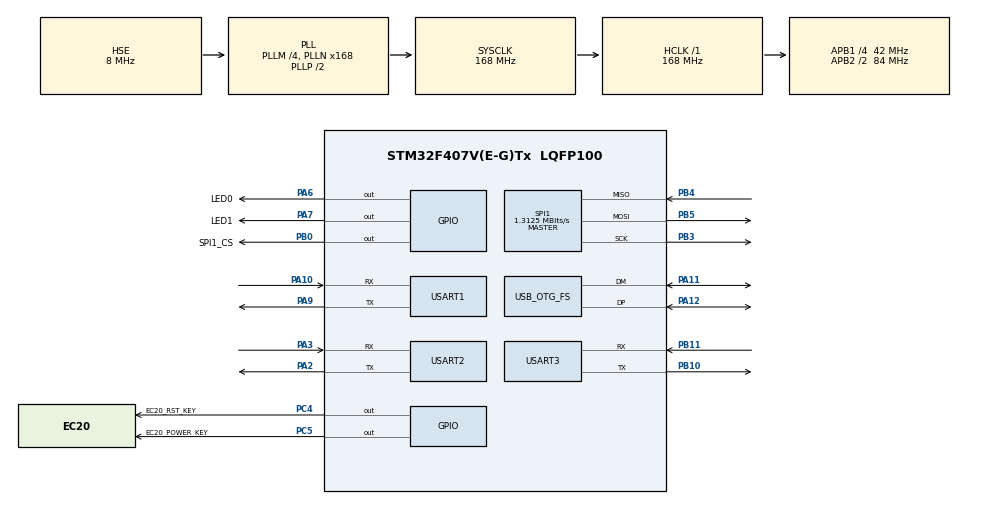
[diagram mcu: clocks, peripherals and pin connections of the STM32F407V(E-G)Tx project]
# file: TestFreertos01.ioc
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Dma.Request0=USART1_RX
Dma.Request1=USART1_TX
Dma.Request2=USART2_RX
Dma.Request3=USART2_TX
Dma.USART1_RX.0.Direction=DMA_PERIPH_TO_MEMORY
Dma.USART1_RX.0.FIFOMode=DMA_FIFOMODE_DISABLE
Dma.USART1_RX.0.Instance=DMA2_Stream2
Dma.USART1_RX.0.MemDataAlignment=DMA_MDATAALIGN_BYTE
Dma.USART1_RX.0.MemInc=DMA_MINC_ENABLE
Dma.USART1_RX.0.Mode=DMA_CIRCULAR
Dma.USART1_RX.0.PeriphDataAlignment=DMA_PDATAALIGN_BYTE
Dma.USART1_RX.0.PeriphInc=DMA_PINC_DISABLE
Dma.USART1_RX.0.Priority=DMA_PRIORITY_MEDIUM
Dma.USART1_TX.1.Direction=DMA_MEMORY_TO_PERIPH
Dma.USART1_TX.1.FIFOMode=DMA_FIFOMODE_DISABLE
Dma.USART1_TX.1.Instance=DMA2_Stream7
Dma.USART1_TX.1.MemDataAlignment=DMA_MDATAALIGN_BYTE
Dma.USART1_TX.1.MemInc=DMA_MINC_ENABLE
Dma.USART1_TX.1.Mode=DMA_NORMAL
Dma.USART1_TX.1.PeriphDataAlignment=DMA_PDATAALIGN_BYTE
Dma.USART1_TX.1.PeriphInc=DMA_PINC_DISABLE
Dma.USART1_TX.1.Priority=DMA_PRIORITY_MEDIUM
Dma.USART2_RX.2.Direction=DMA_PERIPH_TO_MEMORY
Dma.USART2_RX.2.FIFOMode=DMA_FIFOMODE_DISABLE
Dma.USART2_RX.2.Instance=DMA1_Stream5
Dma.USART2_RX.2.MemDataAlignment=DMA_MDATAALIGN_BYTE
Dma.USART2_RX.2.MemInc=DMA_MINC_ENABLE
Dma.USART2_RX.2.Mode=DMA_CIRCULAR
Dma.USART2_RX.2.PeriphDataAlignment=DMA_PDATAALIGN_BYTE
Dma.USART2_RX.2.PeriphInc=DMA_PINC_DISABLE
Dma.USART2_RX.2.Priority=DMA_PRIORITY_LOW
Dma.USART2_TX.3.Direction=DMA_MEMORY_TO_PERIPH
Dma.USART2_TX.3.FIFOMode=DMA_FIFOMODE_DISABLE
Dma.USART2_TX.3.Instance=DMA1_Stream6
Dma.USART2_TX.3.MemDataAlignment=DMA_MDATAALIGN_BYTE
Dma.USART2_TX.3.MemInc=DMA_MINC_ENABLE
Dma.USART2_TX.3.Mode=DMA_NORMAL
Dma.USART2_TX.3.PeriphDataAlignment=DMA_PDATAALIGN_BYTE
Dma.USART2_TX.3.PeriphInc=DMA_PINC_DISABLE
Dma.USART2_TX.3.Priority=DMA_PRIORITY_LOW
FATFS._CODE_PAGE=936
FATFS._FS_NORTC=1
FATFS._MAX_SS=4096
FATFS._NORTC_MDAY=1
FATFS._NORTC_MON=7
FATFS._NORTC_YEAR=2020
FATFS._USE_LFN=2
FATFS._USE_MUTEX=0
FATFS._VOLUMES=1
FREERTOS.BinarySemaphores01=usart1_dma_rxSem,Dynamic,NULL;usart1_dma_txSem,Dynamic,NULL;usart2_dma_rxSem,Dynamic,NULL;usart2_dma_txSem,Dynamic,NULL
FREERTOS.Mutexes01=MutexPrintf,Dynamic,NULL
FREERTOS.Queues01=myQueue01,2,uint8_t,0,Dynamic,NULL,NULL
FREERTOS.Tasks01=defaultTask,24,128,StartDefaultTask,Default,NULL,Dynamic,NULL,NULL;myTaskLed,39,512,StartTaskLed,Default,NULL,Dynamic,NULL,NULL;LteTask,24,512,StartTaskLte,Default,NULL,Dynamic,NULL,NULL;myTaskUsart3,15,128,StartTaskUsart3,Default,NULL,Dynamic,NULL,NULL
Mcu.Family=STM32F4
Mcu.Name=STM32F407V(E-G)Tx
Mcu.Package=LQFP100
NVIC.DMA1_Stream5_IRQn=true\:5\:0\:true\:false\:true\:true\:false\:true
NVIC.DMA1_Stream6_IRQn=true\:5\:0\:true\:false\:true\:true\:false\:true
NVIC.DMA2_Stream2_IRQn=true\:5\:0\:true\:false\:true\:true\:false\:true
NVIC.DMA2_Stream7_IRQn=true\:5\:0\:true\:false\:true\:true\:false\:true
NVIC.OTG_FS_IRQn=true\:5\:0\:true\:false\:true\:true\:true\:true
NVIC.PriorityGroup=NVIC_PRIORITYGROUP_4
NVIC.TIM2_IRQn=true\:5\:0\:false\:false\:true\:true\:true\:true
NVIC.TIM7_IRQn=true\:0\:0\:false\:false\:true\:false\:false\:true
NVIC.TimeBase=TIM7_IRQn
NVIC.TimeBaseIP=TIM7
NVIC.USART1_IRQn=true\:5\:0\:true\:false\:true\:true\:true\:true
NVIC.USART2_IRQn=true\:5\:0\:true\:false\:true\:true\:true\:true
NVIC.USART3_IRQn=true\:5\:0\:true\:false\:true\:true\:true\:true
PA10.Mode=Asynchronous
PA10.Signal=USART1_RX
PA11.Mode=Device_Only
PA11.Signal=USB_OTG_FS_DM
PA12.Mode=Device_Only
PA12.Signal=USB_OTG_FS_DP
PA13.Mode=Serial_Wire
PA13.Signal=SYS_JTMS-SWDIO
PA14.Mode=Serial_Wire
PA14.Signal=SYS_JTCK-SWCLK
PA2.Mode=Asynchronous
PA2.Signal=USART2_TX
PA3.Mode=Asynchronous
PA3.Signal=USART2_RX
PA6.GPIO_Label=LED0
PA6.GPIO_PuPd=GPIO_NOPULL
PA6.GPIO_Speed=GPIO_SPEED_FREQ_HIGH
PA6.PinState=GPIO_PIN_SET
PA6.Signal=GPIO_Output
PA7.GPIO_Label=LED1
PA7.GPIO_Speed=GPIO_SPEED_FREQ_HIGH
PA7.PinState=GPIO_PIN_SET
PA7.Signal=GPIO_Output
PA9.Mode=Asynchronous
PA9.Signal=USART1_TX
PB0.GPIO_Label=SPI1_CS
PB0.GPIO_Speed=GPIO_SPEED_FREQ_HIGH
PB0.PinState=GPIO_PIN_SET
PB0.Signal=GPIO_Output
PB10.Mode=Asynchronous
PB10.Signal=USART3_TX
PB11.Mode=Asynchronous
PB11.Signal=USART3_RX
PB3.Mode=Full_Duplex_Master
PB3.Signal=SPI1_SCK
PB4.Mode=Full_Duplex_Master
PB4.Signal=SPI1_MISO
PB5.Mode=Full_Duplex_Master
PB5.Signal=SPI1_MOSI
PC4.GPIO_Label=EC20_RST_KEY
PC4.GPIO_ModeDefaultOutputPP=GPIO_MODE_OUTPUT_PP
PC4.GPIO_Speed=GPIO_SPEED_FREQ_HIGH
PC4.PinState=GPIO_PIN_RESET
PC4.Signal=GPIO_Output
PC5.GPIO_Label=EC20_POWER_KEY
PC5.GPIO_Speed=GPIO_SPEED_FREQ_HIGH
PC5.PinState=GPIO_PIN_RESET
PC5.Signal=GPIO_Output
PH0-OSC_IN.Mode=HSE-External-Oscillator
PH0-OSC_IN.Signal=RCC_OSC_IN
PH1-OSC_OUT.Mode=HSE-External-Oscillator
PH1-OSC_OUT.Signal=RCC_OSC_OUT
ProjectManager.HeapSize=0x1400
ProjectManager.StackSize=0x800
ProjectManager.TargetToolchain=MDK-ARM V5.27
RCC.48MHZClocksFreq_Value=48000000
RCC.AHBFreq_Value=168000000
RCC.APB1CLKDivider=RCC_HCLK_DIV4
RCC.APB1Freq_Value=42000000
RCC.APB1TimFreq_Value=84000000
RCC.APB2CLKDivider=RCC_HCLK_DIV2
RCC.APB2Freq_Value=84000000
RCC.APB2TimFreq_Value=168000000
RCC.CortexFreq_Value=168000000
RCC.HCLKFreq_Value=168000000
RCC.HSE_VALUE=8000000
RCC.HSI_VALUE=16000000
RCC.LSE_VALUE=32768
RCC.PLLM=4
RCC.PLLN=168
RCC.PLLQ=7
RCC.SYSCLKFreq_VALUE=168000000
RCC.SYSCLKSource=RCC_SYSCLKSOURCE_PLLCLK
RCC.VCOOutputFreq_Value=336000000
SPI1.BaudRatePrescaler=SPI_BAUDRATEPRESCALER_64
SPI1.CLKPhase=SPI_PHASE_2EDGE
SPI1.CLKPolarity=SPI_POLARITY_HIGH
SPI1.CalculateBaudRate=1.3125 MBits/s
SPI1.Direction=SPI_DIRECTION_2LINES
SPI1.Mode=SPI_MODE_MASTER
SPI1.VirtualType=VM_MASTER
TIM2.AutoReloadPreload=TIM_AUTORELOAD_PRELOAD_ENABLE
TIM2.Period=0xFFFFFFFF
TIM2.Prescaler=83
USART1.VirtualMode=VM_ASYNC
USART2.VirtualMode=VM_ASYNC
USART3.VirtualMode=VM_ASYNC
USB_DEVICE.CLASS_NAME_FS=MSC
USB_DEVICE.MSC_MEDIA_PACKET-MSC_FS=4096
USB_DEVICE.VirtualMode-MSC_FS=Msc
USB_DEVICE.VirtualModeFS=Msc_FS
USB_OTG_FS.VirtualMode=Device_Only
VP_FATFS_VS_Generic.Mode=User_defined
VP_FREERTOS_VS_CMSIS_V2.Mode=CMSIS_V2
VP_SYS_VS_tim7.Mode=TIM7
VP_TIM2_VS_ClockSourceINT.Mode=Internal
VP_USB_DEVICE_VS_USB_DEVICE_MSC_FS.Mode=MSC_FS
board=custom

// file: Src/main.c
/* USER CODE BEGIN Header */
/**
  ******************************************************************************
  * @file           : main.c
  * @brief          : Main program body
  ******************************************************************************
  * @attention
  *
  * <h2><center>&copy; Copyright (c) 2020 STMicroelectronics.
  * All rights reserved.</center></h2>
  *
  * This software component is licensed by ST under Ultimate Liberty license
  * SLA0044, the "License"; You may not use this file except in compliance with
  * the License. You may obtain a copy of the License at:
  *                             www.st.com/SLA0044
  *
  ******************************************************************************
  */
/* USER CODE END Header */

#include "main.h"
#include "cmsis_os.h"
#include "dma.h"
#include "fatfs.h"
#include "spi.h"
#include "tim.h"
#include "usart.h"
#include "usb_device.h"
#include "gpio.h"

void SystemClock_Config(void);
void MX_FREERTOS_Init(void);

int main(void)
{

  /* MCU Configuration--------------------------------------------------------*/

  /* Reset of all peripherals, Initializes the Flash interface and the Systick. */
  HAL_Init();

  /* USER CODE BEGIN Init */
    usart_val_int();
  /* USER CODE END Init */

  /* Configure the system clock */
  SystemClock_Config();

  /* Initialize all configured peripherals */
  MX_GPIO_Init();
  MX_DMA_Init();
  MX_USART1_UART_Init();
  MX_USART2_UART_Init();
  MX_USART3_UART_Init();
  MX_SPI1_Init();
  MX_TIM2_Init();
  MX_FATFS_Init();
  /* USER CODE BEGIN 2 */

    Usart_IRQen_Init();
  /* USER CODE END 2 */

  /* Init scheduler */
  osKernelInitialize();  /* Call init function for freertos objects (in freertos.c) */
  MX_FREERTOS_Init();
  /* Start scheduler */
  osKernelStart();

  /* We should never get here as control is now taken by the scheduler */
  /* Infinite loop */
  while (1)
  {

  }
}

void SystemClock_Config(void)
{
  RCC_OscInitTypeDef RCC_OscInitStruct = {0};
  RCC_ClkInitTypeDef RCC_ClkInitStruct = {0};

  /** Configure the main internal regulator output voltage
  */
  __HAL_RCC_PWR_CLK_ENABLE();
  __HAL_PWR_VOLTAGESCALING_CONFIG(PWR_REGULATOR_VOLTAGE_SCALE1);
  /** Initializes the CPU, AHB and APB busses clocks
  */
  RCC_OscInitStruct.OscillatorType = RCC_OSCILLATORTYPE_HSE;
  RCC_OscInitStruct.HSEState = RCC_HSE_ON;
  RCC_OscInitStruct.PLL.PLLState = RCC_PLL_ON;
  RCC_OscInitStruct.PLL.PLLSource = RCC_PLLSOURCE_HSE;
  RCC_OscInitStruct.PLL.PLLM = 4;
  RCC_OscInitStruct.PLL.PLLN = 168;
  RCC_OscInitStruct.PLL.PLLP = RCC_PLLP_DIV2;
  RCC_OscInitStruct.PLL.PLLQ = 7;
  if (HAL_RCC_OscConfig(&RCC_OscInitStruct) != HAL_OK)
  {
    Error_Handler();
  }
  /** Initializes the CPU, AHB and APB busses clocks
  */
  RCC_ClkInitStruct.ClockType = RCC_CLOCKTYPE_HCLK|RCC_CLOCKTYPE_SYSCLK
                              |RCC_CLOCKTYPE_PCLK1|RCC_CLOCKTYPE_PCLK2;
  RCC_ClkInitStruct.SYSCLKSource = RCC_SYSCLKSOURCE_PLLCLK;
  RCC_ClkInitStruct.AHBCLKDivider = RCC_SYSCLK_DIV1;
  RCC_ClkInitStruct.APB1CLKDivider = RCC_HCLK_DIV4;
  RCC_ClkInitStruct.APB2CLKDivider = RCC_HCLK_DIV2;

  if (HAL_RCC_ClockConfig(&RCC_ClkInitStruct, FLASH_LATENCY_5) != HAL_OK)
  {
    Error_Handler();
  }
}

 /**
  * @brief  Period elapsed callback in non blocking mode
  * @note   This function is called  when TIM7 interrupt took place, inside
  * HAL_TIM_IRQHandler(). It makes a direct call to HAL_IncTick() to increment
  * a global variable "uwTick" used as application time base.
  * @param  htim : TIM handle
  * @retval None
  */
void HAL_TIM_PeriodElapsedCallback(TIM_HandleTypeDef *htim)
{
  if (htim->Instance == TIM7) {
    HAL_IncTick();
  }
}

void Error_Handler(void)
{
}

/************************ (C) COPYRIGHT STMicroelectronics *****END OF FILE****/

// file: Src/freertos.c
/* USER CODE BEGIN Header */
/**
  ******************************************************************************
  * File Name          : freertos.c
  * Description        : Code for freertos applications
  ******************************************************************************
  * @attention
  *
  * <h2><center>&copy; Copyright (c) 2020 STMicroelectronics.
  * All rights reserved.</center></h2>
  *
  * This software component is licensed by ST under Ultimate Liberty license
  * SLA0044, the "License"; You may not use this file except in compliance with
  * the License. You may obtain a copy of the License at:
  *                             www.st.com/SLA0044
  *
  ******************************************************************************
  */
/* USER CODE END Header */

#include "FreeRTOS.h"
#include "task.h"
#include "main.h"
#include "cmsis_os.h"

/* USER CODE BEGIN Includes */
#include "usart.h"
#include "queue.h"
#include "semphr.h"
#include "lte.h"
#include "txt.h"
#include "fatfs.h"
#include <stdio.h>
#include "spi.h"
/* USER CODE END Includes */

/* USER CODE BEGIN Variables */
/* 创建队列集合句柄 */
QueueSetHandle_t xQueueSet = NULL;
SemaphoreHandle_t xSemaphore = NULL;
/* USER CODE END Variables */
/* Definitions for defaultTask */
osThreadId_t defaultTaskHandle;
const osThreadAttr_t defaultTask_attributes = {
  .name = "defaultTask",
  .priority = (osPriority_t) osPriorityNormal,
  .stack_size = 128 * 4
};
/* Definitions for myTaskLed */
osThreadId_t myTaskLedHandle;
const osThreadAttr_t myTaskLed_attributes = {
  .name = "myTaskLed",
  .priority = (osPriority_t) osPriorityAboveNormal7,
  .stack_size = 512 * 4
};
/* Definitions for LteTask */
osThreadId_t LteTaskHandle;
const osThreadAttr_t LteTask_attributes = {
  .name = "LteTask",
  .priority = (osPriority_t) osPriorityNormal,
  .stack_size = 512 * 4
};
/* Definitions for myTaskUsart3 */
osThreadId_t myTaskUsart3Handle;
const osThreadAttr_t myTaskUsart3_attributes = {
  .name = "myTaskUsart3",
  .priority = (osPriority_t) osPriorityLow7,
  .stack_size = 128 * 4
};
/* Definitions for myQueue01 */
osMessageQueueId_t myQueue01Handle;
const osMessageQueueAttr_t myQueue01_attributes = {
  .name = "myQueue01"
};
/* Definitions for MutexPrintf */
osMutexId_t MutexPrintfHandle;
const osMutexAttr_t MutexPrintf_attributes = {
  .name = "MutexPrintf"
};
/* Definitions for usart1_dma_rxSem */
osSemaphoreId_t usart1_dma_rxSemHandle;
const osSemaphoreAttr_t usart1_dma_rxSem_attributes = {
  .name = "usart1_dma_rxSem"
};
/* Definitions for usart1_dma_txSem */
osSemaphoreId_t usart1_dma_txSemHandle;
const osSemaphoreAttr_t usart1_dma_txSem_attributes = {
  .name = "usart1_dma_txSem"
};
/* Definitions for usart2_dma_rxSem */
osSemaphoreId_t usart2_dma_rxSemHandle;
const osSemaphoreAttr_t usart2_dma_rxSem_attributes = {
  .name = "usart2_dma_rxSem"
};
/* Definitions for usart2_dma_txSem */
osSemaphoreId_t usart2_dma_txSemHandle;
const osSemaphoreAttr_t usart2_dma_txSem_attributes = {
  .name = "usart2_dma_txSem"
};

/* USER CODE BEGIN FunctionPrototypes */
extern void Test_Send_DMA(void);
extern void Test2_Send_DMA(void);
/* USER CODE END FunctionPrototypes */

void StartDefaultTask(void *argument);
void StartTaskLed(void *argument);
void StartTaskLte(void *argument);
void StartTaskUsart3(void *argument);

extern void MX_USB_DEVICE_Init(void);
void MX_FREERTOS_Init(void); /* (MISRA C 2004 rule 8.1) */

void MX_FREERTOS_Init(void) {
  /* Create the mutex(es) */
  /* creation of MutexPrintf */
  MutexPrintfHandle = osMutexNew(&MutexPrintf_attributes);

  /* Create the semaphores(s) */
  /* creation of usart1_dma_rxSem */
  usart1_dma_rxSemHandle = osSemaphoreNew(1, 1, &usart1_dma_rxSem_attributes);

  /* creation of usart1_dma_txSem */
  usart1_dma_txSemHandle = osSemaphoreNew(1, 1, &usart1_dma_txSem_attributes);

  /* creation of usart2_dma_rxSem */
  usart2_dma_rxSemHandle = osSemaphoreNew(1, 1, &usart2_dma_rxSem_attributes);

  /* creation of usart2_dma_txSem */
  usart2_dma_txSemHandle = osSemaphoreNew(1, 1, &usart2_dma_txSem_attributes);

  /* Create the queue(s) */
  /* creation of myQueue01 */
  myQueue01Handle = osMessageQueueNew (2, sizeof(uint8_t), &myQueue01_attributes);

  /* USER CODE BEGIN RTOS_QUEUES */
    /* add queues, ... */
    /* 如果不调用一次信号获取，在写进队列集合时会出错，不知道是不是封装的API BUG 原生API创建的二值信号没这个问题*/
    osSemaphoreAcquire(usart1_dma_rxSemHandle, 1);
    osSemaphoreAcquire(usart2_dma_rxSemHandle, 1);
    /* 创建队列集合，长度为2 用于存放两个串口的二值信号量 */
    xQueueSet = xQueueCreateSet(2);
    if (xQueueAddToSet(usart1_dma_rxSemHandle, xQueueSet) != pdPASS)
    {
    }
    xQueueAddToSet(usart2_dma_rxSemHandle, xQueueSet);
    //osSemaphoreRelease(usart1_dma_rxSemHandle);
  /* USER CODE END RTOS_QUEUES */

  /* Create the thread(s) */
  /* creation of defaultTask */
  defaultTaskHandle = osThreadNew(StartDefaultTask, NULL, &defaultTask_attributes);

  /* creation of myTaskLed */
  myTaskLedHandle = osThreadNew(StartTaskLed, NULL, &myTaskLed_attributes);

  /* creation of LteTask */
  LteTaskHandle = osThreadNew(StartTaskLte, NULL, &LteTask_attributes);

  /* creation of myTaskUsart3 */
  myTaskUsart3Handle = osThreadNew(StartTaskUsart3, NULL, &myTaskUsart3_attributes);

}

void StartDefaultTask(void *argument)
{
  /* init code for USB_DEVICE */
  MX_USB_DEVICE_Init();
  Usart1_Send_Str("hello \r\n");
  Usart1_Send_Str("1111 \r\n");
  Usart1_Send_Str("2222 \r\n");
  /* USER CODE BEGIN StartDefaultTask */
    /* Infinite loop */
    for (;;)
    {
        osDelay(500);
        HAL_GPIO_TogglePin(LED1_GPIO_Port, LED1_Pin);
        //BSP_Printf("hello\r\n");
    }
  /* USER CODE END StartDefaultTask */
}

void StartTaskLed(void *argument)
{
  /* USER CODE BEGIN StartTaskLed */
    QueueSetMemberHandle_t xActivatedMember;
    /* Infinite loop */
    for (;;)
    {
#if 0
        if(osSemaphoreAcquire(usart1_dma_rxSemHandle, osWaitForever) == osOK)
        {
            HAL_GPIO_TogglePin(LED0_GPIO_Port, LED0_Pin);
            Test_Send_DMA();
        }
#else
        /* 多事件等待 等待两个串口的二值信号量 */
        xActivatedMember = xQueueSelectFromSet(xQueueSet, osWaitForever);
        if (xActivatedMember == usart1_dma_rxSemHandle)
        {
            osSemaphoreAcquire(xActivatedMember, 0);
            HAL_GPIO_TogglePin(LED0_GPIO_Port, LED0_Pin);
            USART_DATA_T *udata = get_usart_data_fifo(1);
            //Usart1_DMA_Send_Data(udata->rxbuf, udata->len);
            usart_write_buf(&g_uart1, udata->rxbuf, udata->len);
            //Test_Send_DMA();
        }
        else if (xActivatedMember == usart2_dma_rxSemHandle)
        {
            osSemaphoreAcquire(xActivatedMember, 0);
            HAL_GPIO_TogglePin(LED0_GPIO_Port, LED0_Pin);
            USART_DATA_T *udata = get_usart_data_fifo(2);
            usart_write_buf(&g_uart2, udata->rxbuf, udata->len);
            //Test2_Send_DMA();
        }
#endif
        //osDelay(1);
    }
  /* USER CODE END StartTaskLed */
}

void StartTaskLte(void *argument)
{
  /* USER CODE BEGIN StartTaskLte */
    tset_fatfs();
    /* Infinite loop */

    printf("end\r\n");
    for (;;)
    {
        //ec20_run();
        osDelay(100);
    }
  /* USER CODE END StartTaskLte */
}

void StartTaskUsart3(void *argument)
{
  /* USER CODE BEGIN StartTaskUsart3 */
    /* Infinite loop */
    for (;;)
    {
        usart_send_data_queue(&g_uart3, &g_uart3);
        usart_send_data_queue(&g_uart3, &g_uart1);
        //osDelay(1000);
    }
  /* USER CODE END StartTaskUsart3 */
}

/************************ (C) COPYRIGHT STMicroelectronics *****END OF FILE****/
